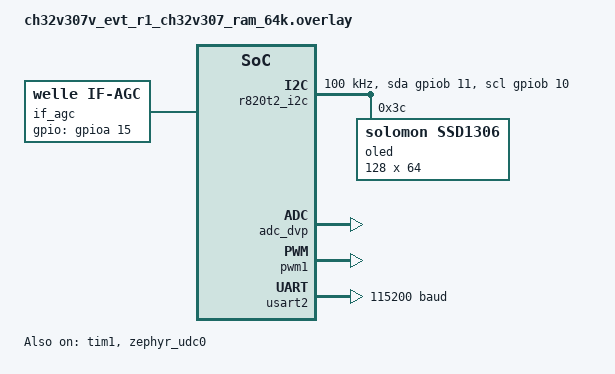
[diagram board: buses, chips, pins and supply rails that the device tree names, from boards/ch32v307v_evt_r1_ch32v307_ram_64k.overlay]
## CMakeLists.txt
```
# Copyright The Zephyr Project Contributors
# SPDX-License-Identifier: Apache-2.0

cmake_minimum_required(VERSION 3.20.0)

list(APPEND ZEPHYR_EXTRA_MODULES
  ${CMAKE_CURRENT_SOURCE_DIR}/modules/udc_wch_usbhs
  ${CMAKE_CURRENT_SOURCE_DIR}/modules/adc_dvp_wch
)

find_package(Zephyr REQUIRED HINTS $ENV{ZEPHYR_BASE})
project(welle-sdr)

target_sources(app PRIVATE
  src/cpu_load.c
  src/ddc.c
  src/if_agc.c
  src/if_agc_ctl.c
  src/main.c
  src/rtl2832u.c
  src/r820t2.c
  src/raw_frame.c
  src/raw_knock.c
  src/sample_src.c
  src/si_fmt.c
  src/status_led.c
  src/testsig.c
  src/welle_sdr_shell.c
)

target_sources_ifdef(CONFIG_WELLE_SDR_OLED app PRIVATE
  src/font5x7.c
  src/oled.c
)

target_include_directories(app PRIVATE include)

# The down-converter sample loop: -O2 is 2.2 times faster than the default -Os (measured)
set_source_files_properties(src/ddc.c PROPERTIES COMPILE_OPTIONS "-O2")
```

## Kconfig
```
# Copyright The Zephyr Project Contributors
# SPDX-License-Identifier: Apache-2.0

mainmenu "RTL-SDR emulator"

config WELLE_SDR_XFER_SIZE
	int "Bulk IN transfer buffer size"
	default 4096
	help
	  Size of one bulk IN transfer buffer. Must be a multiple of 512 so
	  that the stream contains no short packets, which would end the
	  host's bulk transfer early.

config WELLE_SDR_XFER_COUNT
	int "Number of bulk IN transfer buffers"
	default 4
	range 2 8
	help
	  Number of bulk IN transfers kept queued on the endpoint. The ADC
	  paces the stream, so the buffers also absorb delays of the host.

config WELLE_SDR_RAW_MAX_RATE
	int "Highest ADC rate in raw mode, in S/s"
	default 6000000
	range 100000 18000000
	help
	  Raw mode sends one byte per ADC sample. The rate is capped at what
	  the USB device driver carries: 6 MS/s (DAB at 2.048 MS/s) streams
	  without loss, 8 MS/s loses about 6 % (7.5 MB/s arrive). A band that
	  needs more is sent at this rate and flagged as aliased in the frame
	  header.

config WELLE_SDR_RAW_IDLE_MS
	int "Raw mode lease, in ms"
	default 1000
	range 100 60000
	help
	  Raw mode falls back to I/Q when no bulk transfer completes for this
	  long, so that the next host, e.g. the next rtl_tcp client, gets the
	  format it expects.

config WELLE_SDR_R820T2_XTAL_CAP
	int "R820T2 crystal load capacitor code"
	default 3
	range 0 3
	help
	  Register 0x10 bits 1:0, set in every tuner write over the written
	  value: the tuner's internal load capacitors on the crystal pins
	  (librtlsdr: 1 is 10 pF, 2 is 20 pF). librtlsdr always writes 0, as
	  RTL-SDR dongles have external load capacitors. The tuner board here
	  has too little load without them and its crystal runs fast:
	  measured LO error on 9D +437 ppm with 0, +115 ppm with 1, +109 ppm
	  with 2 and +17 ppm with 3. 0 leaves the host's value.

menu "IF AGC"

config WELLE_SDR_IF_AGC_PWM
	bool "Run the IF_AGC PWM from boot"
	help
	  Start the PWM on PA15 at boot. Without it PA15 stays at 0 V, the
	  R820T2 VGA gain comes from its register whatever the host writes,
	  and the IF AGC loop does not run, also with the host's RTL AGC on,
	  until "welle-sdr agc pwm on".

config WELLE_SDR_IF_AGC_FIXED_MV
	int "IF_AGC voltage while the loop is off, in mV"
	default 1550
	range 0 3300
	help
	  Voltage on the R820T2 IF_AGC pin while the host's RTL AGC is off.
	  The tuner only uses it while register 0x0c bit 4 selects pin
	  control, as librtlsdr's register init does until the host sets a
	  gain mode. 1550 mV is about +22 dB VGA gain.

config WELLE_SDR_IF_AGC_MIN_MV
	int "Lowest IF_AGC voltage, in mV"
	default 600
	range 0 3300
	help
	  Lower end of the IF_AGC range, -1.5 dB VGA gain in the datasheet.

config WELLE_SDR_IF_AGC_MAX_MV
	int "Highest IF_AGC voltage, in mV"
	default 2500
	range 0 3300
	help
	  Upper end of the IF_AGC range, +45.5 dB VGA gain in the datasheet.

config WELLE_SDR_IF_AGC_TARGET
	int "Target level, mean absolute deviation of the ADC codes"
	default 24
	range 1 127
	help
	  Level the loop keeps at the ADC: the mean absolute deviation of the
	  codes from their mean. 24 codes is an RMS of about 30 codes, about
	  12 dB below full scale, room for the crest factor of OFDM signals.

config WELLE_SDR_IF_AGC_STRIDE
	int "ADC samples per measured sample"
	default 16
	range 1 64
	help
	  The loop measures every n-th ADC sample. Larger values cost less
	  CPU time in the producer thread.

config WELLE_SDR_IF_AGC_RATE_HZ
	int "Loop updates per second"
	default 50
	range 1 1000
	help
	  The loop measures over 1 / n seconds of ADC samples and then sets
	  the PWM once. The RC low-pass on the IF_AGC input must settle
	  within that time.

endmenu

menu "Status display"

config WELLE_SDR_OLED
	bool "Status display"
	default y
	depends on DT_HAS_SOLOMON_SSD1306_ENABLED
	select DISPLAY
	help
	  Show the tuned frequency, stream format, gain, CPU load and lost
	  ADC samples on the SSD1306 OLED (node "oled"). It shares the bit-banged tuner bus:
	  each write takes the bus for about 3 ms, the CPU is busy for the
	  whole write, and only changed characters are sent.

config WELLE_SDR_OLED_PERIOD_MS
	int "Display update interval, in ms"
	default 1000
	range 200 5000
	depends on WELLE_SDR_OLED
	help
	  The display is redrawn this often. The CPU load is measured over
	  one second.

endmenu

source "Kconfig.zephyr"
```

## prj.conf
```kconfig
CONFIG_USB_DEVICE_STACK_NEXT=y

CONFIG_LOG=y
CONFIG_USBD_LOG_LEVEL_WRN=y
CONFIG_UDC_DRIVER_LOG_LEVEL_WRN=y

CONFIG_SHELL=y
CONFIG_SHELL_BACKEND_SERIAL_API_INTERRUPT_DRIVEN=y
CONFIG_SHELL_PROMPT_UART="welle-sdr:~$ "

CONFIG_GPIO=y
CONFIG_PWM=y
CONFIG_I2C=y
CONFIG_I2C_SHELL=y

# Enter every switched-in thread through mret: the PFIC keeps an interrupt
# active until the next mret and holds back all others meanwhile, so a thread
# resumed by a plain return would block the DVP block interrupt and the tick
# (README "CPU load and the kernel clock")
CONFIG_RISCV_ALWAYS_SWITCH_THROUGH_ECALL=y

# CPU load (src/cpu_load.c): thread switch hook only, no ISR hooks
CONFIG_TRACING=y
CONFIG_TRACING_USER=y
CONFIG_TRACING_ISR=n
```

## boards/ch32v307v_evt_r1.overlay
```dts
/*
 * Copyright The Zephyr Project Contributors
 *
 * SPDX-License-Identifier: Apache-2.0
 */

#include <zephyr/dt-bindings/clock/ch32v20x_30x-clocks.h>

/ {
	soc {
		/* USBHS controller with built-in HS PHY on PB6 (DM) / PB7 (DP), connector P6 */
		zephyr_udc0: usbhs: usbd@40023400 {
			compatible = "wch,usbhs";
			reg = <0x40023400 0x400>;
			clocks = <&rcc CH32V20X_V30X_CLOCK_USBHS>;
			interrupt-parent = <&pfic>;
			interrupts = <85>;
			num-bidir-endpoints = <16>;
			maximum-speed = "high-speed";
			status = "okay";
		};
	};
};
```

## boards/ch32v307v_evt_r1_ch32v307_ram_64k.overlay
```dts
/*
 * Copyright The Zephyr Project Contributors
 *
 * SPDX-License-Identifier: Apache-2.0
 */

#include <zephyr/dt-bindings/clock/ch32v20x_30x-clocks.h>
#include <zephyr/dt-bindings/gpio/gpio.h>
#include <zephyr/dt-bindings/pinctrl/ch32v20x_30x-pinctrl.h>
#include <zephyr/dt-bindings/pwm/pwm.h>

/ {
	/*
	 * Console on USART2 (PA2 TX, PA3 RX), wired to the WCH-Link UART on J2
	 * pins 3 and 5. PA9/PA10 carry ADC data bits DB0/DB1.
	 */
	chosen {
		zephyr,console = &usart2;
		zephyr,shell-uart = &usart2;
	};

	/*
	 * Square-wave test signal for AD IN: TIM3_CH2 on PA7, welle-sdr testsig.
	 * src/testsig.c programs TIM3 directly: with TIM1 (wch,adtm-pwm) and
	 * TIM3 (wch,gptm-pwm) both enabled, pwm_wch_gptm.c defines its instance
	 * 0 config twice and does not build.
	 */
	zephyr,user {
		clocks = <&rcc CH32V20X_V30X_CLOCK_TIM3>;
		pinctrl-0 = <&tim3_ch2_default>;
		pinctrl-names = "default";
	};

	/*
	 * IF AGC: TIM2_CH1 on PA15 (TIM2 partial remap 1) into the RC low-pass
	 * on the tuner board's IF_AGC input. src/if_agc.c programs TIM2
	 * directly, for the same reason as TIM3 above. The remap also moves
	 * TIM2_CH2 to PB3 (DVP D5), whose output stays disabled. PA15 floats
	 * during tuner I2C transfers, see gpios.
	 */
	if_agc: if-agc {
		compatible = "welle,if-agc";
		timer = <&tim2>;
		gpios = <&gpioa 15 GPIO_ACTIVE_HIGH>;
		pinctrl-0 = <&tim2_ch1_default>;
		pinctrl-names = "default";
	};

	/*
	 * R820T2 tuner: SCL on PB10, SDA on PB11, bit-banged. The I2C2
	 * controller on these pins is not used, see the README.
	 */
	r820t2_i2c: r820t2-i2c {
		compatible = "gpio-i2c";
		scl-gpios = <&gpiob 10 (GPIO_ACTIVE_HIGH | GPIO_OPEN_DRAIN)>;
		sda-gpios = <&gpiob 11 (GPIO_ACTIVE_HIGH | GPIO_OPEN_DRAIN)>;
		clock-frequency = <I2C_BITRATE_STANDARD>;
		#address-cells = <1>;
		#size-cells = <0>;

		/*
		 * 0.96" status display. src/oled.c initializes it under the
		 * tuner bus lock, hence the deferred init.
		 */
		oled: ssd1306@3c {
			compatible = "solomon,ssd1306";
			reg = <0x3c>;
			width = <128>;
			height = <64>;
			segment-offset = <0>;
			page-offset = <0>;
			display-offset = <0>;
			multiplex-ratio = <63>;
			segment-remap;
			com-invdir;
			prechargep = <0x22>;
			zephyr,deferred-init;
		};
	};

	soc {
		/* USBHS controller with built-in HS PHY on PB6 (DM) / PB7 (DP), connector P6 */
		zephyr_udc0: usbhs: usbd@40023400 {
			compatible = "wch,usbhs";
			reg = <0x40023400 0x400>;
			clocks = <&rcc CH32V20X_V30X_CLOCK_USBHS>;
			interrupt-parent = <&pfic>;
			interrupts = <85>;
			num-bidir-endpoints = <16>;
			maximum-speed = "high-speed";
			status = "okay";
		};

		/*
		 * AD9280 ADC module on the DVP, wiring variant B (see README):
		 * DCLK from TIM1_CH1 on PA8, jumper wires PA8-PA6 (PCLK),
		 * PA0-PA4 (HSYNC), PA1-PA5 (VSYNC).
		 */
		adc_dvp: dvp@50050000 {
			compatible = "wch,dvp-adc";
			reg = <0x50050000 0x24>;
			clocks = <&rcc CH32V20X_V30X_CLOCK_DVP>;
			interrupt-parent = <&pfic>;
			interrupts = <86>;
			pwms = <&pwm1 0 PWM_NSEC(125) PWM_POLARITY_NORMAL>;
			hsync-gpios = <&gpioa 0 GPIO_ACTIVE_HIGH>;
			vsync-gpios = <&gpioa 1 GPIO_ACTIVE_HIGH>;
			/* D0..D7, PCLK, HSYNC, VSYNC */
			input-gpios = <&gpioa 9 0>, <&gpioa 10 0>, <&gpioc 8 0>, <&gpioc 9 0>,
				      <&gpioc 11 0>, <&gpiob 3 0>, <&gpiob 8 0>, <&gpiob 9 0>,
				      <&gpioa 6 0>, <&gpioa 4 0>, <&gpioa 5 0>;
			status = "okay";
		};
	};
};

&pinctrl {
	usart2_default: usart2_default {
		group1 {
			pinmux = <USART2_TX_PA2_0>;
			output-high;
			drive-push-pull;
			slew-rate = "max-speed-10mhz";
		};

		group2 {
			pinmux = <USART2_RX_PA3_0>;
			bias-pull-up;
		};
	};

	tim1_pwm_default: tim1_pwm_default {
		group1 {
			pinmux = <TIM1_CH1_PA8_0>;
			output-high;
			drive-push-pull;
			slew-rate = "max-speed-2mhz";
		};
	};

	tim2_ch1_default: tim2_ch1_default {
		group1 {
			pinmux = <TIM2_CH1_PA15_1>;
			output-high;
			drive-push-pull;
			/* Slowest edges: the PWM edges disturb the tuner I2C */
			slew-rate = "max-speed-2mhz";
		};
	};

	tim3_ch2_default: tim3_ch2_default {
		group1 {
			pinmux = <TIM3_CH2_PA7_0>;
			output-high;
			drive-push-pull;
			slew-rate = "max-speed-50mhz";
		};
	};
};

/* ADC clock: TIM1 counts at the undivided 144 MHz, DCLK = 144 MHz / period */
&tim1 {
	prescaler = <0>;
	status = "okay";
};

&pwm1 {
	pinctrl-0 = <&tim1_pwm_default>;
	pinctrl-names = "default";
	status = "okay";
};


&usart2 {
	current-speed = <115200>;
	pinctrl-0 = <&usart2_default>;
	pinctrl-names = "default";
	status = "okay";
};

/* PA9/PA10 are ADC data inputs (DB0/DB1) */
&usart1 {
	status = "disabled";
};

/* R7 is removed; PC8/PC9 are ADC data inputs (DB2/DB3) */
&mac {
	status = "disabled";
};

&mdio {
	status = "disabled";
};

/* LED1 shows the USB state; it needs a jumper wire from J3 LED1 to PD0 */
&{/leds} {
	status = "okay";
};
```

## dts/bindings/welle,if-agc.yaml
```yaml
# Copyright The Zephyr Project Contributors
# SPDX-License-Identifier: Apache-2.0

description: |
  PWM output into the RC low-pass on the IF_AGC input of an R820T2 tuner
  board. The low-pass voltage sets the tuner's VGA gain while register 0x0c
  bit 4 selects pin control.

  The application programs channel 1 of the timer directly, with a period of
  4096 timer clocks. The pinctrl state routes that channel to the pin.

compatible: "welle,if-agc"

include: pinctrl-device.yaml

properties:
  timer:
    type: phandle
    required: true
    description: Timer whose channel 1 drives the pin, with its clocks property.

  gpios:
    type: phandle-array
    required: true
    description: |
      The same pin as a GPIO. It is a floating input during tuner I2C
      transfers, as the PWM edges disturb the bus; the low-pass capacitor
      holds the voltage meanwhile.

  pinctrl-0:
    required: true

  pinctrl-names:
    required: true
```

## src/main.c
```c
/*
 * Copyright The Zephyr Project Contributors
 *
 * SPDX-License-Identifier: Apache-2.0
 */

#include <zephyr/kernel.h>
#include <zephyr/usb/usbd.h>

#include <zephyr/logging/log.h>

#include "cpu_load.h"
#include "if_agc.h"
#include "oled.h"
#include "status_led.h"

LOG_MODULE_REGISTER(welle_sdr, LOG_LEVEL_INF);

/* Generic RTL2832U OEM dongle, as listed in librtlsdr known_devices */
#define RTL_USB_VID 0x0bda
#define RTL_USB_PID 0x2838

/* bMaxPower in 2 mA units */
#define RTL_USB_MAX_POWER 250U

USBD_DEVICE_DEFINE(rtl_usbd, DEVICE_DT_GET(DT_NODELABEL(zephyr_udc0)), RTL_USB_VID, RTL_USB_PID);

USBD_DESC_LANG_DEFINE(rtl_lang);
/* librtlsdr matches VID/PID only, the strings tell users what they are talking to */
USBD_DESC_MANUFACTURER_DEFINE(rtl_mfr, "Zephyr CH32V307");
USBD_DESC_PRODUCT_DEFINE(rtl_product, "welle-sdr (RTL2832U/R820T2 emulation)");
USBD_DESC_STRING_DEFINE(rtl_sn, "00000001", USBD_DUT_STRING_SERIAL_NUMBER);

USBD_CONFIGURATION_DEFINE(rtl_fs_config, 0, RTL_USB_MAX_POWER, NULL);
USBD_CONFIGURATION_DEFINE(rtl_hs_config, 0, RTL_USB_MAX_POWER, NULL);

/*
 * The USBHS controller cannot detect VBUS: the first bus reset after boot or
 * after a suspend is reported as a connection, and a removed cable looks like
 * a suspend. The idle bus before the first reset also reads as suspended.
 */
static void rtl_usbd_msg_cb(struct usbd_context *const ctx, const struct usbd_msg *const msg)
{
	static bool host_seen;
	static bool new_session = true;
	const char *speed;

	switch (msg->type) {
	case USBD_MSG_RESET:
		speed = (usbd_bus_speed(ctx) == USBD_SPEED_HS) ? "high" : "full";

		if (new_session) {
			LOG_INF("USB host connected (%s speed)", speed);
		} else {
			LOG_INF("USB bus reset (%s speed)", speed);
		}

		new_session = false;
		host_seen = true;
		break;
	case USBD_MSG_CONFIGURATION:
		if (msg->status != 0) {
			LOG_INF("Configured by host (configuration %d)", msg->status);
		} else {
			LOG_INF("Deconfigured by host");
		}
		break;
	case USBD_MSG_SUSPEND:
		new_session = true;

		if (host_seen) {
			LOG_INF("USB suspended (cable removed or host idle)");
		} else {
			LOG_DBG("USB bus idle before first reset");
		}
		break;
	case USBD_MSG_RESUME:
		if (host_seen) {
			LOG_INF("USB resumed");
		} else {
			LOG_DBG("USB bus active");
		}
		break;
	case USBD_MSG_UDC_ERROR:
	case USBD_MSG_STACK_ERROR:
		LOG_ERR("%s (%d)", usbd_msg_type_string(msg->type), msg->status);
		break;
	default:
		LOG_DBG("%s", usbd_msg_type_string(msg->type));
		break;
	}
}

static int rtl_add_configuration(const enum usbd_speed speed, struct usbd_config_node *const cfg)
{
	int err;

	err = usbd_add_configuration(&rtl_usbd, speed, cfg);
	if (err != 0) {
		LOG_ERR("Failed to add configuration (%d)", err);
		return err;
	}

	err = usbd_register_class(&rtl_usbd, "rtl2832u", speed, 1);
	if (err != 0) {
		LOG_ERR("Failed to register class (%d)", err);
		return err;
	}

	return usbd_device_set_code_triple(&rtl_usbd, speed, 0, 0, 0);
}

static int rtl_usbd_init(void)
{
	struct usbd_desc_node *const descs[] = {&rtl_lang, &rtl_mfr, &rtl_product, &rtl_sn};
	int err;

	for (size_t i = 0U; i < ARRAY_SIZE(descs); i++) {
		err = usbd_add_descriptor(&rtl_usbd, descs[i]);
		if (err != 0) {
			LOG_ERR("Failed to add descriptor (%d)", err);
			return err;
		}
	}

	if (USBD_SUPPORTS_HIGH_SPEED && usbd_caps_speed(&rtl_usbd) == USBD_SPEED_HS) {
		err = rtl_add_configuration(USBD_SPEED_HS, &rtl_hs_config);
		if (err != 0) {
			return err;
		}
	}

	err = rtl_add_configuration(USBD_SPEED_FS, &rtl_fs_config);
	if (err != 0) {
		return err;
	}

	err = usbd_device_set_bcd_device(&rtl_usbd, 0x0100);
	if (err != 0) {
		return err;
	}

	err = usbd_msg_register_cb(&rtl_usbd, rtl_usbd_msg_cb);
	if (err != 0) {
		LOG_ERR("Failed to register message callback (%d)", err);
		return err;
	}

	err = usbd_init(&rtl_usbd);
	if (err != 0) {
		LOG_ERR("Failed to initialize device support (%d)", err);
		return err;
	}

	return usbd_enable(&rtl_usbd);
}

int main(void)
{
	int err;

	/* Before USB: the IF_AGC pin must not float once the host sets pin control */
	err = if_agc_init();
	if (err != 0) {
		LOG_WRN("IF AGC PWM not available (%d)", err);
	}

	cpu_load_init();

	/* After the IF AGC: display writes float the IF_AGC pin */
	if (IS_ENABLED(CONFIG_WELLE_SDR_OLED)) {
		oled_start();
	}

	err = status_led_init(&rtl_usbd);
	if (err != 0) {
		LOG_WRN("Status LED not available (%d)", err);
	}

	err = rtl_usbd_init();
	if (err != 0) {
		LOG_ERR("USB device setup failed (%d)", err);
		return err;
	}

	LOG_INF("RTL2832U/R820T2 emulator ready");

	return 0;
}
```

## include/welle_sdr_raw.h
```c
/*
 * Copyright The Zephyr Project Contributors
 *
 * SPDX-License-Identifier: Apache-2.0
 */

/*
 * welle-sdr raw mode protocol, version 1.
 *
 * Plain C without Zephyr dependencies, for host software.
 *
 * Switching: the host sets three sample rates in a row with
 * rtlsdr_set_sample_rate() (rtl_tcp command 0x02), each within
 * WSDR_RAW_KNOCK_WINDOW_MS of the previous one:
 *
 *   WSDR_RAW_KNOCK_RATE_1, WSDR_RAW_KNOCK_RATE_2,
 *   WSDR_RAW_KNOCK_RATE_3(WSDR_RAW_KNOCK_CODE(mode))
 *
 * and then its real sample rate. On a real RTL2832U this only changes the
 * rate for a moment.
 *
 * Stream in raw mode: frames of one bulk transfer each (4096 bytes): a
 * WSDR_RAW_HDR_LEN byte header, then real unsigned 8-bit ADC samples. The
 * samples continue across frames. A plain RTL2832U stream never carries
 * the header, which tells the host whether the device is a welle-sdr.
 *
 * The device falls back to plain I/Q when the host opens or closes it, on
 * a knock with WSDR_RAW_MODE_IQ, and when no bulk transfer completes for
 * one second (the host stopped reading, e.g. an rtl_tcp client left).
 */

#ifndef WELLE_SDR_RAW_H_
#define WELLE_SDR_RAW_H_

#define WSDR_RAW_VERSION 1U

/** Mode: interleaved unsigned 8-bit I/Q, as a RTL2832U. */
#define WSDR_RAW_MODE_IQ  0U
/** Mode: framed real unsigned 8-bit ADC samples. */
#define WSDR_RAW_MODE_RAW 1U

#define WSDR_RAW_KNOCK_RATE_1      3141592U
#define WSDR_RAW_KNOCK_RATE_2      2718281U
#define WSDR_RAW_KNOCK_RATE_3_BASE 1100000U
#define WSDR_RAW_KNOCK_RATE_3_STEP 1000U
/** Knock code: protocol version in bits 7..4, mode in bits 3..0. */
#define WSDR_RAW_KNOCK_CODE(mode)  ((WSDR_RAW_VERSION << 4) | (mode))
#define WSDR_RAW_KNOCK_RATE_3(code)                                                                \
	(WSDR_RAW_KNOCK_RATE_3_BASE + WSDR_RAW_KNOCK_RATE_3_STEP * (code))
/** The device accepts each knock rate within this tolerance. */
#define WSDR_RAW_KNOCK_TOL_HZ      250U
/** Longest time between two knock rates. */
#define WSDR_RAW_KNOCK_WINDOW_MS   1000U

/* Frame header, multi-byte fields little-endian */
#define WSDR_RAW_MAGIC          "WSDR"
#define WSDR_RAW_MAGIC_LEN      4U
#define WSDR_RAW_OFF_MAGIC      0U
/** u8: WSDR_RAW_VERSION */
#define WSDR_RAW_OFF_VERSION    4U
/** u8: header length, the samples start there */
#define WSDR_RAW_OFF_HDR_LEN    5U
/** u16: WSDR_RAW_FLAG_* */
#define WSDR_RAW_OFF_FLAGS      6U
/** u32: index of the frame's first sample since raw mode started, wraps */
#define WSDR_RAW_OFF_SAMPLE_IDX 8U
/** u32: ADC rate in samples per second */
#define WSDR_RAW_OFF_ADC_RATE   12U
/** s32: IF in Hz, as programmed into the demodulator by the host */
#define WSDR_RAW_OFF_IF         16U
#define WSDR_RAW_HDR_LEN        20U

/** Spectrum inverted (librtlsdr sets it for the R820T): mix with +IF. */
#define WSDR_RAW_FLAG_INVERTED (1U << 0)
/** The band IF +/- host rate / 2 reaches above half the ADC rate. */
#define WSDR_RAW_FLAG_ALIASED  (1U << 1)

#endif /* WELLE_SDR_RAW_H_ */
```

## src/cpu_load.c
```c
/*
 * Copyright The Zephyr Project Contributors
 *
 * SPDX-License-Identifier: Apache-2.0
 */

/*
 * CPU load from the time spent in the idle thread, measured at each thread
 * switch (tracing hook) against TIM4 counting at 10 kHz.
 *
 * TIM4 rather than the kernel clock: without
 * CONFIG_RISCV_ALWAYS_SWITCH_THROUGH_ECALL, the PFIC held back all
 * interrupts, SysTick included, while a thread ran that an interrupt had
 * switched to (README "CPU load and the kernel clock"), so neither tick
 * sampling nor CONFIG_SCHED_THREAD_USAGE, which reads the SysTick-based
 * cycle counter, saw the busy time. Thread switches are not delayed.
 * Interrupts that do not switch count for the thread they interrupt.
 */

#include <zephyr/device.h>
#include <zephyr/devicetree.h>
#include <zephyr/drivers/clock_control.h>
#include <zephyr/kernel.h>
#include <zephyr/logging/log.h>
#include <zephyr/sys/atomic.h>
#include <zephyr/tracing/tracing.h>

#include <hal_ch32fun.h>

#include "cpu_load.h"

LOG_MODULE_REGISTER(cpu_load, LOG_LEVEL_INF);

#define CPU_LOAD_TIMER DT_NODELABEL(tim4)

/* CPU_LOAD_CLOCK_HZ: 100 us resolution, the 16-bit counter wraps after 6.5 s */
/*
 * Window the load is reported over. Its end is scheduled on the kernel
 * clock, which runs late here; its length comes from the counter.
 */
#define CPU_LOAD_WINDOW K_SECONDS(1)

BUILD_ASSERT(IS_ENABLED(CONFIG_TRACING_USER), "Needs the tracing user hooks");

static TIM_TypeDef *const tim = (TIM_TypeDef *)DT_REG_ADDR(CPU_LOAD_TIMER);

/* Updated with interrupts locked: in the switch hook and at the end of a window */
static struct {
	bool running;
	bool in_idle;
	uint16_t last_cnt;
	/* Time since the start, in counter clocks, wrapping */
	uint32_t now;
	/* Time and idle time in the current window, in counter clocks */
	uint32_t span;
	uint32_t idle;
} load;

static atomic_t load_pct;

/* Account the time since the last call, at least once per window */
static void cpu_load_advance(void)
{
	const uint16_t cnt = (uint16_t)tim->CNT;
	const uint16_t delta = cnt - load.last_cnt;

	load.last_cnt = cnt;
	load.now += delta;
	load.span += delta;
	if (load.in_idle) {
		load.idle += delta;
	}
}

static void cpu_load_window(struct k_work *work)
{
	struct k_work_delayable *dwork = k_work_delayable_from_work(work);
	unsigned int key = irq_lock();
	uint32_t span;
	uint32_t idle;

	cpu_load_advance();
	span = load.span;
	idle = MIN(load.idle, span);
	load.span = 0U;
	load.idle = 0U;
	irq_unlock(key);

	if (span > 0U) {
		(void)atomic_set(&load_pct,
				 (atomic_val_t)(((uint64_t)(span - idle) * 100U + span / 2U) / span));
	}

	(void)k_work_schedule(dwork, CPU_LOAD_WINDOW);
}

static K_WORK_DELAYABLE_DEFINE(cpu_load_work, cpu_load_window);

/* Overrides the weak hook of CONFIG_TRACING_USER, called with interrupts locked */
void sys_trace_thread_switched_in_user(void)
{
	if (!load.running) {
		return;
	}

	cpu_load_advance();
	/* The TLS pointer may still be the old thread's here, _current is the new one */
	load.in_idle = (k_thread_priority_get(k_sched_current_thread_query()) == K_IDLE_PRIO);
}

void cpu_load_init(void)
{
	const struct device *const clk = DEVICE_DT_GET(DT_CLOCKS_CTLR(CPU_LOAD_TIMER));
	const clock_control_subsys_t clk_id =
		(clock_control_subsys_t)(uintptr_t)DT_CLOCKS_CELL(CPU_LOAD_TIMER, id);
	unsigned int key;
	uint32_t rate;

	if (clock_control_on(clk, clk_id) != 0 || clock_control_get_rate(clk, clk_id, &rate) != 0 ||
	    rate / CPU_LOAD_CLOCK_HZ == 0U || rate / CPU_LOAD_CLOCK_HZ > 65536U) {
		LOG_WRN("CPU load timer not available");
		return;
	}

	tim->CTLR1 = 0U;
	tim->PSC = (uint16_t)(rate / CPU_LOAD_CLOCK_HZ - 1U);
	tim->ATRLR = UINT16_MAX;
	/* Load the prescaler now */
	tim->SWEVGR = TIM_UG;
	tim->CTLR1 = TIM_CEN;

	key = irq_lock();
	load.last_cnt = (uint16_t)tim->CNT;
	/* Called from main, not idle */
	load.in_idle = false;
	load.running = true;
	irq_unlock(key);

	(void)k_work_schedule(&cpu_load_work, CPU_LOAD_WINDOW);
}

uint32_t cpu_load_pct(void)
{
	return (uint32_t)atomic_get(&load_pct);
}

uint32_t cpu_load_clock(void)
{
	unsigned int key = irq_lock();
	uint32_t now = 0U;

	if (load.running) {
		cpu_load_advance();
		now = load.now;
	}

	irq_unlock(key);

	return now;
}
```

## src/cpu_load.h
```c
/*
 * Copyright The Zephyr Project Contributors
 *
 * SPDX-License-Identifier: Apache-2.0
 */

#ifndef WELLE_SDR_CPU_LOAD_H_
#define WELLE_SDR_CPU_LOAD_H_

#include <stdint.h>

/* Rate of cpu_load_clock() */
#define CPU_LOAD_CLOCK_HZ 10000U

/** @brief Start measuring the CPU load, on TIM4. */
void cpu_load_init(void);

/**
 * @brief CPU load over the last second.
 *
 * Share of the time outside the idle thread over the last window of about
 * one second. Interrupts count for the thread they interrupt. 0 until the
 * first window has ended.
 *
 * @return Load in percent, 0 to 100.
 */
uint32_t cpu_load_pct(void);

/**
 * @brief Time from the CPU load timer.
 *
 * Unlike the kernel clock it does not stop or fall behind while interrupts
 * are held back (README "CPU load and the kernel clock").
 *
 * @return Time since cpu_load_init() in 1 / CPU_LOAD_CLOCK_HZ s, wrapping;
 *	   0 if the timer is not available.
 */
uint32_t cpu_load_clock(void);

#endif /* WELLE_SDR_CPU_LOAD_H_ */
```

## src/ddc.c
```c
/*
 * Copyright The Zephyr Project Contributors
 *
 * SPDX-License-Identifier: Apache-2.0
 */

/*
 * Digital down-converter: real ADC samples at the IF to complex baseband at
 * the host rate, cheap enough for the CH32V307 at several MS/s.
 *
 * 1. Mixing by a quarter of the ADC rate fs: e^(-j pi n / 2) is the sequence
 *    1, -j, -1, +j, so each input is added to or subtracted from I or Q,
 *    without multiplication.
 * 2. Second-order CIC decimation by D: two integrators per input, two combs
 *    per output, additions only.
 * 3. Rotation by the residual |IF| - fs / 4 at the output rate, one complex
 *    multiplication per output.
 *
 * ddc_plan() picks fs = D * out_rate so that fs / 4 is close to the IF and
 * the residual stays small. The CIC droops towards the band edges (-1.1 dB
 * at 0.2 out_rate from the band center, -7.8 dB at 0.5 out_rate) and folds
 * signals around multiples of out_rate into the band with limited
 * suppression; the band center is fs / 4, so the residual shifts the
 * requested band against it.
 */

#include <errno.h>
#include <math.h>
#include <string.h>

#include "ddc.h"

/*
 * Output in Q18: a tone of amplitude A at the input gives
 * A * DDC_GAIN * sqrt(decim) * 2^18 before saturation.
 */
#define DDC_OUT_SHIFT  18
#define DDC_OUT_CENTER 127

/*
 * Output gain over the input level, unless switched off in ddc_init(), is
 * DDC_GAIN * sqrt(decim). The CIC
 * lowers white ADC noise by sqrt(decim): the sqrt(decim) keeps the noise at
 * the same level in output codes at any rate, so that it is not rounded
 * away at high decimation (at 250 kS/s, decimation 32, the output was a
 * constant code between the pulses of a weak signal). DDC_GAIN, 6 dB,
 * makes up for the ADC level, which the AD9280 module's front end keeps
 * far below full scale.
 */
#define DDC_GAIN 2.0

#define DDC_ROT_BITS 8U
#define DDC_ROT_SIZE (1U << DDC_ROT_BITS)

#define DDC_PI 3.14159265358979

static uint64_t ddc_abs_diff(uint64_t a, uint64_t b)
{
	return (a > b) ? (a - b) : (b - a);
}

/* |IF| - fs / 4 in Hz for an ADC clock period, rounded */
static int64_t ddc_residual(uint64_t abs_if, uint64_t period)
{
	const int64_t num = (int64_t)(4U * abs_if * period) - (int64_t)DDC_CLOCK_HZ;
	const int64_t den = (int64_t)(4U * period);

	return (num >= 0) ? (num + den / 2) / den : -((-num + den / 2) / den);
}

/*
 * CPU cost of ddc_process() on the CH32V307 at 144 MHz (-O2), in tenths of
 * a cycle, fitted to measured block times: per input and per output sample,
 * for the group-end path (decimation a multiple of 4) and the general path.
 */
#define DDC_COST_FAST_IN  79U
#define DDC_COST_FAST_OUT 470U
#define DDC_COST_GEN_IN   133U
#define DDC_COST_GEN_OUT  865U
#define DDC_CPU_HZ        144000000U
/* Plans up to this estimated load are chosen by the smallest residual */
#define DDC_LOAD_BUDGET_PCT 60U

struct ddc_candidate {
	uint64_t period;
	uint64_t decim;
	/* Rate error in Hz is err / (period * decim) */
	uint64_t err;
	uint64_t abs_res;
	/* Estimated CPU load in percent */
	uint64_t load_pct;
};

static uint64_t ddc_load_pct(uint64_t period, uint64_t decim)
{
	const bool fast = (decim % 4U) == 0U;
	const uint64_t cost_in = fast ? DDC_COST_FAST_IN : DDC_COST_GEN_IN;
	const uint64_t cost_out = fast ? DDC_COST_FAST_OUT : DDC_COST_GEN_OUT;
	/* (adc_rate * cost_in + out_rate * cost_out) / 10 / DDC_CPU_HZ * 100 */
	const uint64_t tenth_cycles = DDC_CLOCK_HZ * cost_in / period +
				      DDC_CLOCK_HZ * cost_out / (period * decim);

	return tenth_cycles * 10U / DDC_CPU_HZ;
}

/*
 * Exact plans: within the load budget the smallest residual, else the
 * smallest load. Inexact plans: the smallest rate error, then the smallest
 * load (1.008 MS/s at IF 1.7 MHz: 8 MS/s / 8 instead of 6 MS/s / 6).
 */
static bool ddc_better(const struct ddc_candidate *c, const struct ddc_candidate *best,
		       bool exact)
{
	bool c_ok;
	bool best_ok;

	if (best->period == 0U) {
		return true;
	}

	if (!exact) {
		/* Rate errors in Hz, compared without the division */
		const uint64_t c_err = c->err * best->period * best->decim;
		const uint64_t best_err = best->err * c->period * c->decim;

		if (c_err != best_err) {
			return c_err < best_err;
		}

		return c->load_pct < best->load_pct;
	}

	c_ok = c->load_pct <= DDC_LOAD_BUDGET_PCT;
	best_ok = best->load_pct <= DDC_LOAD_BUDGET_PCT;

	if (c_ok != best_ok) {
		return c_ok;
	}

	if (c_ok && c->abs_res != best->abs_res) {
		return c->abs_res < best->abs_res;
	}

	return c->load_pct < best->load_pct;
}

static bool ddc_search(uint32_t out_rate, uint64_t abs_if, bool exact,
		       struct ddc_candidate *best)
{
	for (uint64_t decim = DDC_MIN_DECIM; decim <= DDC_MAX_DECIM; decim++) {
		const uint64_t p0 = DDC_CLOCK_HZ / ((uint64_t)out_rate * decim);

		for (uint64_t period = p0; period <= p0 + 1U; period++) {
			struct ddc_candidate c;
			int64_t res;

			if (period < DDC_MIN_PERIOD || period > DDC_MAX_PERIOD) {
				continue;
			}

			/* Band edge |IF| + out_rate / 2 at most half the ADC rate */
			if ((2U * abs_if + out_rate) * period > DDC_CLOCK_HZ) {
				continue;
			}

			c.period = period;
			c.decim = decim;
			c.err = ddc_abs_diff(DDC_CLOCK_HZ, (uint64_t)out_rate * period * decim);
			res = ddc_residual(abs_if, period);
			c.abs_res = (uint64_t)((res < 0) ? -res : res);
			c.load_pct = ddc_load_pct(period, decim);

			/* The IF must lie inside the output band */
			if (2U * c.abs_res > out_rate) {
				continue;
			}

			if (exact && c.err > period * decim) {
				continue;
			}

			if (ddc_better(&c, best, exact)) {
				*best = c;
			}
		}
	}

	return best->period != 0U;
}

int ddc_plan(uint32_t out_rate, int32_t if_hz, struct ddc_plan *plan)
{
	const uint64_t abs_if = (if_hz < 0) ? (uint64_t)(-(int64_t)if_hz) : (uint64_t)if_hz;
	struct ddc_candidate best = {0};
	bool exact;
	uint64_t div;
	int64_t err;

	if (out_rate == 0U) {
		return -EINVAL;
	}

	exact = ddc_search(out_rate, abs_if, true, &best);
	if (!exact && !ddc_search(out_rate, abs_if, false, &best)) {
		return -ERANGE;
	}

	div = best.period * best.decim;
	err = (int64_t)DDC_CLOCK_HZ - (int64_t)out_rate * (int64_t)div;

	plan->out_rate = out_rate;
	plan->period = (uint16_t)best.period;
	plan->decim = (uint8_t)best.decim;
	plan->exact = exact;
	plan->adc_rate = (uint32_t)((DDC_CLOCK_HZ + best.period / 2U) / best.period);
	plan->actual_rate = (uint32_t)((DDC_CLOCK_HZ + div / 2U) / div);
	plan->ppm_error = (int32_t)(err * 1000000 / ((int64_t)out_rate * (int64_t)div));
	plan->residual_hz = (int32_t)ddc_residual(abs_if, best.period);
	plan->load_pct = (uint32_t)best.load_pct;

	return 0;
}

void ddc_init(struct ddc *ddc, const struct ddc_plan *plan, int32_t if_hz, bool invert,
	      bool gain)
{
	const uint32_t decim2 = (uint32_t)plan->decim * plan->decim;
	const double out_rate = (double)DDC_CLOCK_HZ / ((double)plan->period * plan->decim);
	const double out_gain = gain ? DDC_GAIN * sqrt((double)plan->decim) : 1.0;

	(void)memset(ddc, 0, sizeof(*ddc));
	ddc->decim = plan->decim;
	/* The spectrum of a real input at -IF is the conjugate of the one at +IF */
	ddc->q_sign = (invert != (if_hz < 0)) ? -1 : 1;
	ddc->gain_db10 = (int16_t)lrint(200.0 * log10(out_gain));

	/*
	 * A real tone of amplitude A gives A / 2 at baseband and decim^2 in the
	 * CIC, so the gain correction is 2 / decim^2, times the output gain.
	 * |comb output| <= 128 decim^2 and |rot| <= 2^19 * 2 * sqrt(32) / decim^2,
	 * so each product stays below 2^29.5 and their sum below 2^30.
	 */
	const double scale = (double)(1UL << (DDC_OUT_SHIFT + 1U)) * out_gain / (double)decim2;

	for (uint32_t i = 0U; i < DDC_ROT_SIZE; i++) {
		/* sin(x) = cos(x - quarter turn), from the same table points */
		const uint32_t i_sin = (i - DDC_ROT_SIZE / 4U) & (DDC_ROT_SIZE - 1U);

		ddc->rot[i][0] = (int32_t)lrint(cos(2.0 * DDC_PI * (double)i /
						    (double)DDC_ROT_SIZE) * scale);
		ddc->rot[i][1] = (int32_t)lrint(cos(2.0 * DDC_PI * (double)i_sin /
						    (double)DDC_ROT_SIZE) * scale);
	}
	/* Rotation per output: residual / out_rate turns, as a 32-bit phase; wraps */
	ddc->nco_step = (uint32_t)llrint((double)plan->residual_hz / out_rate * 4294967296.0);
}

size_t ddc_out_len(const struct ddc *ddc, size_t n)
{
	return 2U * ((ddc->phase + n) / ddc->decim);
}

size_t ddc_in_len(const struct ddc *ddc, size_t out_len)
{
	const size_t outputs = out_len / 2U;

	/* The inputs up to the last output, plus the ones before the next */
	return outputs * ddc->decim + (ddc->decim - 1U - ddc->phase);
}

/* Q18 value to the output byte: round, add the center, saturate */
static inline uint8_t ddc_to_u8(int32_t y)
{
	const int32_t v = (y + (DDC_OUT_CENTER << DDC_OUT_SHIFT) + (1 << (DDC_OUT_SHIFT - 1))) >>
			  DDC_OUT_SHIFT;

	/* One compare in the normal case */
	if ((uint32_t)v > UINT8_MAX) {
		return (v < 0) ? 0U : UINT8_MAX;
	}

	return (uint8_t)v;
}

/* Down-converter state kept in local variables while processing */
struct ddc_run {
	uint32_t int1_i;
	uint32_t int1_q;
	uint32_t int2_i;
	uint32_t int2_q;
	uint32_t comb1_i;
	uint32_t comb1_q;
	uint32_t comb2_i;
	uint32_t comb2_q;
	uint32_t nco;
	uint32_t mix;
	uint32_t count;
};

/*
 * Configuration copied into locals: out is a byte pointer and may alias the
 * struct, so the compiler would reload the fields after every store.
 */
struct ddc_cfg {
	const int32_t (*rot)[2];
	uint32_t nco_step;
	uint32_t decim;
	int32_t q_sign;
};

/* Combs, scaling and rotation for one output from the second integrator states */
static inline void ddc_emit(const struct ddc_cfg *cfg, struct ddc_run *r, uint32_t int2_i,
			    uint32_t int2_q, uint8_t *out)
{
	const int32_t *cs = cfg->rot[r->nco >> (32U - DDC_ROT_BITS)];
	const uint32_t c1_i = int2_i - r->comb1_i;
	const uint32_t c1_q = int2_q - r->comb1_q;
	const int32_t ai = (int32_t)(c1_i - r->comb2_i);
	const int32_t aq = (int32_t)(c1_q - r->comb2_q);
	/* y = a * e^(-j phase) * gain, Q18 */
	const int32_t yi = ai * cs[0] + aq * cs[1];
	const int32_t yq = (aq * cs[0] - ai * cs[1]) * cfg->q_sign;

	r->comb1_i = int2_i;
	r->comb1_q = int2_q;
	r->comb2_i = c1_i;
	r->comb2_q = c1_q;
	r->nco += cfg->nco_step;

	out[0] = ddc_to_u8(yi);
	out[1] = ddc_to_u8(yq);
}

/* Second integrators after a mixed input, emit at the decimation step */
static inline size_t ddc_tick(const struct ddc_cfg *cfg, struct ddc_run *r, uint8_t *out)
{
	r->int2_i += r->int1_i;
	r->int2_q += r->int1_q;
	r->count++;

	if (r->count == cfg->decim) {
		r->count = 0U;
		ddc_emit(cfg, r, r->int2_i, r->int2_q, out);
		return 2U;
	}

	return 0U;
}

/* One input sample: mix by 1, -j, -1, +j, integrate, emit at the decimation step */
static inline size_t ddc_step(const struct ddc_cfg *cfg, struct ddc_run *r, uint8_t in,
			      uint8_t *out)
{
	const uint32_t x = (uint32_t)((int32_t)in - 128);

	switch (r->mix) {
	case 0U:
		r->int1_i += x;
		break;
	case 1U:
		r->int1_q -= x;
		break;
	case 2U:
		r->int1_i -= x;
		break;
	default:
		r->int1_q += x;
		break;
	}

	r->mix = (r->mix + 1U) & 3U;

	return ddc_tick(cfg, r, out);
}

/*
 * Groups of four inputs from mixer phase 0, for a decimation that is a
 * multiple of 4. Outputs fall on group ends: only the end state of each
 * group, from raw codes; the +-128 offsets leave -256 and +256 per group.
 * This and ddc_groups() are kept out of line so that each loop gets the
 * registers to itself.
 */
static __attribute__((noinline)) size_t ddc_groups4(const struct ddc_cfg *cfg,
						    struct ddc_run *run, const uint8_t *in,
						    size_t groups, uint8_t *out)
{
	struct ddc_run r = *run;
	uint32_t int1_i = r.int1_i;
	uint32_t int1_q = r.int1_q;
	uint32_t int2_i = r.int2_i;
	uint32_t int2_q = r.int2_q;
	uint32_t count = r.count;
	size_t written = 0U;

	for (size_t g = 0U; g < groups; g++, in += 4) {
		const uint32_t x0 = in[0];
		const uint32_t x1 = in[1];
		const uint32_t x2 = in[2];
		const uint32_t x3 = in[3];

		int2_i += 4U * (int1_i + x0) - 2U * x2 - 256U;
		int2_q += 4U * int1_q - 3U * x1 + x3 + 256U;
		int1_i += x0 - x2;
		int1_q += x3 - x1;
		count += 4U;

		if (count == cfg->decim) {
			count = 0U;
			ddc_emit(cfg, &r, int2_i, int2_q, &out[written]);
			written += 2U;
		}
	}

	r.int1_i = int1_i;
	r.int1_q = int1_q;
	r.int2_i = int2_i;
	r.int2_q = int2_q;
	r.count = count;
	*run = r;

	return written;
}

/*
 * Groups of four inputs from mixer phase 0, for a decimation that is not a
 * multiple of 4. Groups without an output only advance the integrators, as
 * in ddc_process(); groups with outputs step through their inputs, with the
 * mixer signs fixed by the group start.
 */
static __attribute__((noinline)) size_t ddc_groups(const struct ddc_cfg *cfg,
						   struct ddc_run *run, const uint8_t *in,
						   size_t groups, uint8_t *out)
{
	struct ddc_run r = *run;
	size_t written = 0U;

	for (size_t g = 0U; g < groups; g++, in += 4) {
		if (r.count + 4U < cfg->decim) {
			const uint32_t x0 = in[0];
			const uint32_t x1 = in[1];
			const uint32_t x2 = in[2];
			const uint32_t x3 = in[3];

			r.int2_i += 4U * (r.int1_i + x0) - 2U * x2 - 256U;
			r.int2_q += 4U * r.int1_q - 3U * x1 + x3 + 256U;
			r.int1_i += x0 - x2;
			r.int1_q += x3 - x1;
			r.count += 4U;
			continue;
		}

		r.int1_i += (uint32_t)((int32_t)in[0] - 128);
		written += ddc_tick(cfg, &r, &out[written]);
		r.int1_q -= (uint32_t)((int32_t)in[1] - 128);
		written += ddc_tick(cfg, &r, &out[written]);
		r.int1_i -= (uint32_t)((int32_t)in[2] - 128);
		written += ddc_tick(cfg, &r, &out[written]);
		r.int1_q += (uint32_t)((int32_t)in[3] - 128);
		written += ddc_tick(cfg, &r, &out[written]);
	}

	*run = r;

	return written;
}

size_t ddc_process(struct ddc *ddc, const uint8_t *in, size_t n, uint8_t *out)
{
	struct ddc_run r = {
		.int1_i = ddc->int1_i,
		.int1_q = ddc->int1_q,
		.int2_i = ddc->int2_i,
		.int2_q = ddc->int2_q,
		.comb1_i = ddc->comb1_i,
		.comb1_q = ddc->comb1_q,
		.comb2_i = ddc->comb2_i,
		.comb2_q = ddc->comb2_q,
		.nco = ddc->nco,
		.mix = ddc->mix_phase,
		.count = ddc->phase,
	};
	const struct ddc_cfg cfg = {
		.rot = ddc->rot,
		.nco_step = ddc->nco_step,
		.decim = ddc->decim,
		.q_sign = ddc->q_sign,
	};
	size_t written = 0U;
	size_t k = 0U;

	/* Single samples up to mixer phase 0, groups of four, single samples at the end */
	while (k < n && r.mix != 0U) {
		written += ddc_step(&cfg, &r, in[k], &out[written]);
		k++;
	}

	if ((cfg.decim % 4U) == 0U) {
		written += ddc_groups4(&cfg, &r, &in[k], (n - k) / 4U, &out[written]);
		k += (n - k) & ~(size_t)3U;
	} else {
		written += ddc_groups(&cfg, &r, &in[k], (n - k) / 4U, &out[written]);
		k += (n - k) & ~(size_t)3U;
	}

	while (k < n) {
		written += ddc_step(&cfg, &r, in[k], &out[written]);
		k++;
	}

	ddc->int1_i = r.int1_i;
	ddc->int1_q = r.int1_q;
	ddc->int2_i = r.int2_i;
	ddc->int2_q = r.int2_q;
	ddc->comb1_i = r.comb1_i;
	ddc->comb1_q = r.comb1_q;
	ddc->comb2_i = r.comb2_i;
	ddc->comb2_q = r.comb2_q;
	ddc->nco = r.nco;
	ddc->mix_phase = (uint8_t)r.mix;
	ddc->phase = (uint8_t)r.count;

	return written;
}
```

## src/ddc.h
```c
/*
 * Copyright The Zephyr Project Contributors
 *
 * SPDX-License-Identifier: Apache-2.0
 */

#ifndef WELLE_SDR_DDC_H_
#define WELLE_SDR_DDC_H_

#include <stdbool.h>
#include <stddef.h>
#include <stdint.h>

/** Clock the ADC clock (DCLK) is divided from, in Hz. */
#define DDC_CLOCK_HZ 144000000U

/** Smallest ADC clock period in DDC_CLOCK_HZ cycles: 18 MS/s, the measured clean range. */
#define DDC_MIN_PERIOD 8U
/** Largest ADC clock period (16-bit timer). */
#define DDC_MAX_PERIOD 65535U

#define DDC_MIN_DECIM 2U
#define DDC_MAX_DECIM 32U

/** ADC clock and decimation for a host sample rate and IF. */
struct ddc_plan {
	/** Requested output rate in complex samples per second. */
	uint32_t out_rate;
	/** ADC clock period in DDC_CLOCK_HZ cycles. */
	uint16_t period;
	/** Decimation from the ADC rate to the output rate. */
	uint8_t decim;
	/** The output rate is exactly the requested one (within 1 Hz). */
	bool exact;
	/** ADC rate, DDC_CLOCK_HZ / period, rounded. */
	uint32_t adc_rate;
	/** Actual output rate, DDC_CLOCK_HZ / (period * decim), rounded. */
	uint32_t actual_rate;
	/** Error of the actual output rate in ppm of the requested one. */
	int32_t ppm_error;
	/** |IF| minus a quarter of the ADC rate, in Hz: removed by the final rotation. */
	int32_t residual_hz;
	/** Estimated CPU load of ddc_process() on the CH32V307 at 144 MHz, in percent. */
	uint32_t load_pct;
};

/**
 * Down-converter state.
 *
 * Mixing by a quarter of the ADC rate (multiplier-free), 2nd-order CIC
 * decimation, rotation by the remaining IF offset at the output rate.
 */
struct ddc {
	/* CIC integrators and comb delays, wrapping arithmetic */
	uint32_t int1_i;
	uint32_t int1_q;
	uint32_t int2_i;
	uint32_t int2_q;
	uint32_t comb1_i;
	uint32_t comb1_q;
	uint32_t comb2_i;
	uint32_t comb2_q;
	/* Phase of the quarter-rate mixer: input index modulo 4 */
	uint8_t mix_phase;
	/* Input samples since the last output, 0 .. decim - 1 */
	uint8_t phase;
	uint8_t decim;
	/* -1 to conjugate the output (spectrum inversion), else 1 */
	int8_t q_sign;
	/* Output gain over the input level in 0.1 dB: 0 without the gain */
	int16_t gain_db10;
	/*
	 * cos and sin of 2 pi i / 256, times the CIC gain correction
	 * 2 / decim^2 and the output gain (2 sqrt(decim) or 1), in Q18:
	 * rotation and gain in one multiplication
	 */
	int32_t rot[256][2];
	/* Rotation by the residual IF, full turn = 2^32 */
	uint32_t nco;
	uint32_t nco_step;
};

/**
 * @brief Choose the ADC clock period and decimation for a host sample rate.
 *
 * Considers the plans whose band |IF| + out_rate / 2 stays below half the
 * ADC rate and whose IF lies inside the output band. Among the exact output
 * rates it takes the one whose quarter ADC rate lies closest to |IF| (the
 * smallest residual for the final rotation) within an estimated CPU load of
 * 60 %, or the cheapest one if none fits. Without an exact rate the plan with
 * the smallest rate error is returned and @c exact is false.
 *
 * @param out_rate Host sample rate in complex samples per second.
 * @param if_hz IF to convert to baseband, in Hz.
 * @param plan Filled with the result.
 *
 * @retval 0 Plan found.
 * @retval -EINVAL @p out_rate is 0.
 * @retval -ERANGE No ADC rate up to 18 MS/s covers the band.
 */
int ddc_plan(uint32_t out_rate, int32_t if_hz, struct ddc_plan *plan);

/**
 * @brief Initialize the down-converter for a plan and an IF.
 *
 * @param ddc State to initialize.
 * @param plan ADC rate and decimation, from ddc_plan() for the same IF.
 * @param if_hz IF to convert to baseband, in Hz; a negative IF conjugates.
 * @param invert Conjugate the output (spectrum inversion).
 * @param gain Apply the output gain 2 sqrt(decim); false gives unity gain,
 *             a tone of A codes at the input stays A codes at the output.
 */
void ddc_init(struct ddc *ddc, const struct ddc_plan *plan, int32_t if_hz, bool invert,
	      bool gain);

/**
 * @brief Number of output bytes the next ddc_process() call produces from @p n inputs.
 *
 * @param ddc Down-converter state.
 * @param n Number of input samples.
 *
 * @return Output bytes (2 per complex sample).
 */
size_t ddc_out_len(const struct ddc *ddc, size_t n);

/**
 * @brief Number of input samples that produce at most @p out_len output bytes.
 *
 * @param ddc Down-converter state.
 * @param out_len Output space in bytes.
 *
 * @return Input samples.
 */
size_t ddc_in_len(const struct ddc *ddc, size_t out_len);

/**
 * @brief Convert ADC samples to I/Q.
 *
 * @p out must hold ddc_out_len(ddc, n) bytes. Output is unsigned 8-bit
 * interleaved I/Q around 127, the RTL2832U format. A tone of amplitude A
 * codes at the input gives 2 sqrt(decim) A codes at the output with the
 * gain on (ddc_init()), A codes without it, saturated.
 *
 * @param ddc Down-converter state.
 * @param in ADC samples, unsigned 8-bit.
 * @param n Number of input samples.
 * @param out Output buffer.
 *
 * @return Output bytes written.
 */
size_t ddc_process(struct ddc *ddc, const uint8_t *in, size_t n, uint8_t *out);

#endif /* WELLE_SDR_DDC_H_ */
```

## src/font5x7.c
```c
/*
 * Copyright The Zephyr Project Contributors
 *
 * SPDX-License-Identifier: Apache-2.0
 */

/* 5x7 pixel font for printable ASCII, one byte per column, bit 0 at the top */

#include "font5x7.h"

#define FONT5X7_FIRST 0x20
#define FONT5X7_LAST  0x7e

static const uint8_t glyphs[FONT5X7_LAST - FONT5X7_FIRST + 1][FONT5X7_WIDTH] = {
	{0x00, 0x00, 0x00, 0x00, 0x00}, /* space */
	{0x00, 0x00, 0x5F, 0x00, 0x00}, /* ! */
	{0x00, 0x03, 0x00, 0x03, 0x00}, /* " */
	{0x14, 0x7F, 0x14, 0x7F, 0x14}, /* # */
	{0x24, 0x2A, 0x7F, 0x2A, 0x12}, /* $ */
	{0x23, 0x13, 0x08, 0x64, 0x62}, /* % */
	{0x36, 0x49, 0x55, 0x22, 0x50}, /* & */
	{0x00, 0x00, 0x03, 0x00, 0x00}, /* quote */
	{0x00, 0x1C, 0x22, 0x41, 0x00}, /* ( */
	{0x00, 0x41, 0x22, 0x1C, 0x00}, /* ) */
	{0x14, 0x08, 0x3E, 0x08, 0x14}, /* * */
	{0x08, 0x08, 0x3E, 0x08, 0x08}, /* + */
	{0x00, 0x50, 0x30, 0x00, 0x00}, /* , */
	{0x08, 0x08, 0x08, 0x08, 0x08}, /* - */
	{0x00, 0x60, 0x60, 0x00, 0x00}, /* . */
	{0x20, 0x10, 0x08, 0x04, 0x02}, /* / */
	{0x3E, 0x51, 0x49, 0x45, 0x3E}, /* 0 */
	{0x00, 0x42, 0x7F, 0x40, 0x00}, /* 1 */
	{0x42, 0x61, 0x51, 0x49, 0x46}, /* 2 */
	{0x21, 0x41, 0x45, 0x4B, 0x31}, /* 3 */
	{0x18, 0x14, 0x12, 0x7F, 0x10}, /* 4 */
	{0x27, 0x45, 0x45, 0x45, 0x39}, /* 5 */
	{0x3C, 0x4A, 0x49, 0x49, 0x30}, /* 6 */
	{0x01, 0x71, 0x09, 0x05, 0x03}, /* 7 */
	{0x36, 0x49, 0x49, 0x49, 0x36}, /* 8 */
	{0x06, 0x49, 0x49, 0x29, 0x1E}, /* 9 */
	{0x00, 0x36, 0x36, 0x00, 0x00}, /* : */
	{0x00, 0x56, 0x36, 0x00, 0x00}, /* ; */
	{0x08, 0x14, 0x22, 0x41, 0x00}, /* < */
	{0x14, 0x14, 0x14, 0x14, 0x14}, /* = */
	{0x00, 0x41, 0x22, 0x14, 0x08}, /* > */
	{0x02, 0x01, 0x51, 0x09, 0x06}, /* ? */
	{0x32, 0x49, 0x79, 0x41, 0x3E}, /* @ */
	{0x7E, 0x09, 0x09, 0x09, 0x7E}, /* A */
	{0x7F, 0x49, 0x49, 0x49, 0x36}, /* B */
	{0x3E, 0x41, 0x41, 0x41, 0x22}, /* C */
	{0x7F, 0x41, 0x41, 0x22, 0x1C}, /* D */
	{0x7F, 0x49, 0x49, 0x49, 0x41}, /* E */
	{0x7F, 0x09, 0x09, 0x09, 0x01}, /* F */
	{0x3E, 0x41, 0x49, 0x49, 0x7A}, /* G */
	{0x7F, 0x08, 0x08, 0x08, 0x7F}, /* H */
	{0x00, 0x41, 0x7F, 0x41, 0x00}, /* I */
	{0x20, 0x40, 0x41, 0x3F, 0x01}, /* J */
	{0x7F, 0x08, 0x14, 0x22, 0x41}, /* K */
	{0x7F, 0x40, 0x40, 0x40, 0x40}, /* L */
	{0x7F, 0x02, 0x0C, 0x02, 0x7F}, /* M */
	{0x7F, 0x04, 0x08, 0x10, 0x7F}, /* N */
	{0x3E, 0x41, 0x41, 0x41, 0x3E}, /* O */
	{0x7F, 0x09, 0x09, 0x09, 0x06}, /* P */
	{0x3E, 0x41, 0x51, 0x21, 0x5E}, /* Q */
	{0x7F, 0x09, 0x19, 0x29, 0x46}, /* R */
	{0x46, 0x49, 0x49, 0x49, 0x31}, /* S */
	{0x01, 0x01, 0x7F, 0x01, 0x01}, /* T */
	{0x3F, 0x40, 0x40, 0x40, 0x3F}, /* U */
	{0x1F, 0x20, 0x40, 0x20, 0x1F}, /* V */
	{0x3F, 0x40, 0x38, 0x40, 0x3F}, /* W */
	{0x63, 0x14, 0x08, 0x14, 0x63}, /* X */
	{0x03, 0x04, 0x78, 0x04, 0x03}, /* Y */
	{0x61, 0x51, 0x49, 0x45, 0x43}, /* Z */
	{0x00, 0x7F, 0x41, 0x41, 0x00}, /* [ */
	{0x02, 0x04, 0x08, 0x10, 0x20}, /* backslash */
	{0x00, 0x41, 0x41, 0x7F, 0x00}, /* ] */
	{0x04, 0x02, 0x01, 0x02, 0x04}, /* ^ */
	{0x40, 0x40, 0x40, 0x40, 0x40}, /* _ */
	{0x00, 0x01, 0x02, 0x00, 0x00}, /* ` */
	{0x20, 0x54, 0x54, 0x54, 0x78}, /* a */
	{0x7F, 0x48, 0x44, 0x44, 0x38}, /* b */
	{0x38, 0x44, 0x44, 0x44, 0x20}, /* c */
	{0x38, 0x44, 0x44, 0x48, 0x7F}, /* d */
	{0x38, 0x54, 0x54, 0x54, 0x18}, /* e */
	{0x08, 0x7E, 0x09, 0x01, 0x02}, /* f */
	{0x0C, 0x52, 0x52, 0x52, 0x3E}, /* g */
	{0x7F, 0x08, 0x04, 0x04, 0x78}, /* h */
	{0x00, 0x44, 0x7D, 0x40, 0x00}, /* i */
	{0x20, 0x40, 0x44, 0x3D, 0x00}, /* j */
	{0x7F, 0x10, 0x28, 0x44, 0x00}, /* k */
	{0x00, 0x41, 0x7F, 0x40, 0x00}, /* l */
	{0x7C, 0x04, 0x18, 0x04, 0x78}, /* m */
	{0x7C, 0x08, 0x04, 0x04, 0x78}, /* n */
	{0x38, 0x44, 0x44, 0x44, 0x38}, /* o */
	{0x7C, 0x14, 0x14, 0x14, 0x08}, /* p */
	{0x08, 0x14, 0x14, 0x18, 0x7C}, /* q */
	{0x7C, 0x08, 0x04, 0x04, 0x08}, /* r */
	{0x48, 0x54, 0x54, 0x54, 0x20}, /* s */
	{0x04, 0x3F, 0x44, 0x40, 0x20}, /* t */
	{0x3C, 0x40, 0x40, 0x20, 0x7C}, /* u */
	{0x1C, 0x20, 0x40, 0x20, 0x1C}, /* v */
	{0x3C, 0x40, 0x30, 0x40, 0x3C}, /* w */
	{0x44, 0x28, 0x10, 0x28, 0x44}, /* x */
	{0x0C, 0x50, 0x50, 0x50, 0x3C}, /* y */
	{0x44, 0x64, 0x54, 0x4C, 0x44}, /* z */
	{0x00, 0x08, 0x36, 0x41, 0x00}, /* { */
	{0x00, 0x00, 0x7F, 0x00, 0x00}, /* | */
	{0x00, 0x41, 0x36, 0x08, 0x00}, /* } */
	{0x08, 0x04, 0x08, 0x10, 0x08}, /* ~ */
};

const uint8_t *font5x7_glyph(char c)
{
	if (c < FONT5X7_FIRST || c > FONT5X7_LAST) {
		c = '?';
	}

	return glyphs[c - FONT5X7_FIRST];
}
```

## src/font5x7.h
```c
/*
 * Copyright The Zephyr Project Contributors
 *
 * SPDX-License-Identifier: Apache-2.0
 */

#ifndef WELLE_SDR_FONT5X7_H_
#define WELLE_SDR_FONT5X7_H_

#include <stdint.h>

/* Glyph size in pixels; a character cell adds one blank column */
#define FONT5X7_WIDTH  5U
#define FONT5X7_HEIGHT 7U

/**
 * @brief Get the glyph of a character.
 *
 * @param c Character, printable ASCII. Others are drawn as '?'.
 *
 * @return FONT5X7_WIDTH column bytes, bit 0 is the top row.
 */
const uint8_t *font5x7_glyph(char c);

#endif /* WELLE_SDR_FONT5X7_H_ */
```
